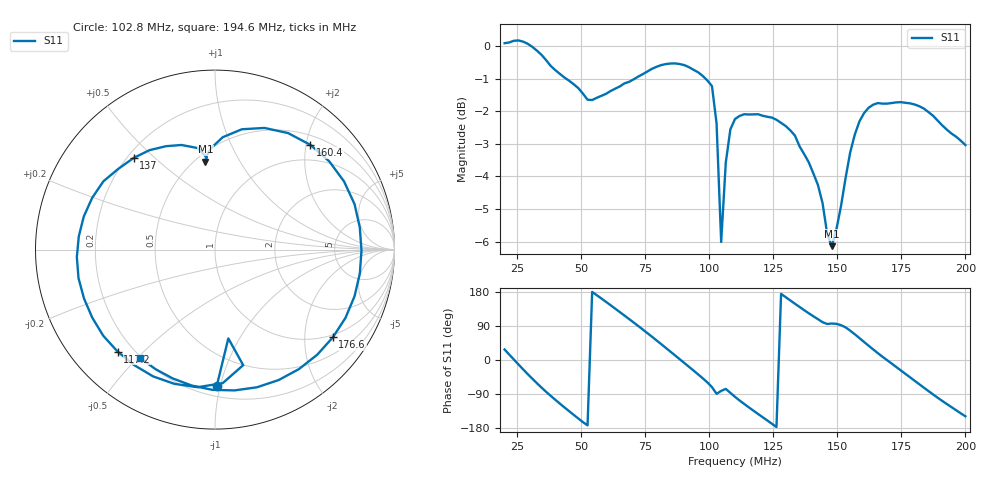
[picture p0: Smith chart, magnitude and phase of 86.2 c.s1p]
# HZ S RI R 50
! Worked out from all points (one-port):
!   101 points, 20 MHz to 200 MHz, reference 50 ohm
!   lowest |S11| = -6.1 dB at 147.8 MHz (marker M1), VSWR 2.94, Z = 28 + j36.3 ohm
!   |S11| at or under -10 dB: nowhere
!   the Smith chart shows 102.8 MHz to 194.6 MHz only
!   S11 on the Smith chart (normalised r, x): 102.8 MHz: 0.27, -0.98; 117.2 MHz: 0.14, -0.42; 137 MHz: 0.22, +0.43; 160.4 MHz: 0.67, +2.08; 176.6 MHz: 0.92, -2.74; 194.6 MHz: 0.19, -0.51
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2e7  0.8947 0.4699
2.54e7  0.9994 -0.206
3.26e7  0.4759 -0.8619
3.8e7  -0.074 -0.9297
4.34e7  -0.5161 -0.7311
5.42e7  -0.8266 0.00549
6.5e7  -0.5156 0.6975
7.58e7  0.3013 0.8634
8.3e7  0.7977 0.4949
8.84e7  0.9381 0.0346
9.56e7  0.7189 -0.5608
1.028e8  0.00941 -0.7612
1.046e8  0.0743 -0.4948
1.064e8  0.1571 -0.6438
1.1e8  -0.097 -0.7667
1.172e8  -0.5425 -0.5684
1.262e8  -0.7697 -0.0415
1.334e8  -0.622 0.3803
1.37e8  -0.4535 0.5105
1.478e8  -0.0539 0.4901
1.55e8  0.1496 0.6704
1.604e8  0.5314 0.5834
1.676e8  0.8068 0.1232
1.766e8  0.6564 -0.4891
1.784e8  0.5698 -0.5854
1.856e8  0.1088 -0.7845
1.946e8  -0.416 -0.6049
2e8  -0.6016 -0.3675
